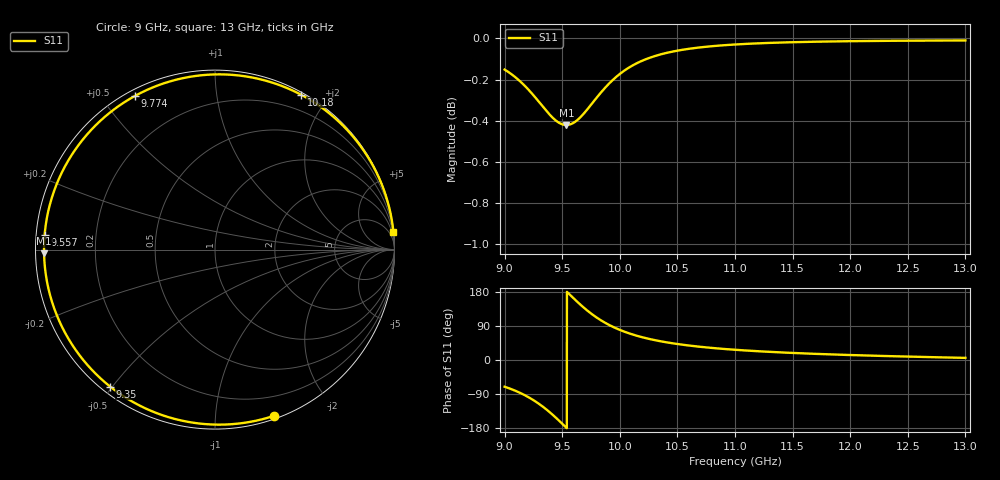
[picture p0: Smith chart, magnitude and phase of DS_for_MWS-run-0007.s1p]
! TOUCHSTONE file generated by CST DESIGN STUDIO
! Date and time: Tue Feb  4 13:33:47 2025
! Project name: C:\Work\MatlabApps\UnitCellOptimizationMatlab\CST\unitcell.cst
! Tree item: Tasks\Sweep1\SPara1\S-Parameters
! Header version: 2024
! Port assignment regex: !\s*Touchstone port\s*([0-9]+)\s*=\s*(CST MWS port|CST DES external port|CST DES block port)\s*(.+)\s* \(\"(.*)\"\)(\s*mode\s*([0-9]+))?.*
! Touchstone port assignment:
! Touchstone port 1 = CST DES external port 1 ("")
# GHz S MA R 50
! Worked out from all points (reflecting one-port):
!   4001 points, 9 GHz to 13 GHz, reference 50 ohm
!   lowest |S11| = -0.4 dB at 9.536 GHz (marker M1), VSWR 41.27, Z = 1.21 - j0.559 ohm
!   phase of S11 starts at -70 deg and turns -284 deg over the sweep
!   S11 on the Smith chart (normalised r, x): 9 GHz: 0.03, -1.42; 9.35 GHz: 0.02, -0.49; 9.557 GHz: 0.02, +0.04; 9.774 GHz: 0.02, +0.61; 10.18 GHz: 0.02, +1.70; 13 GHz: 0, +20
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9  0.9827 -70.5
9.098  0.9783 -81.8
9.206  0.9718 -98.0
9.282  0.9663 -112.3
9.35  0.9612 -127.4
9.421  0.9564 -145.6
9.462  0.9543 -157.0
9.5  0.9531 -168.1
9.536  0.9527 -178.7
9.557  0.9528 175.0
9.611  0.9543 159.2
9.672  0.9577 142.3
9.723  0.9614 129.2
9.774  0.9654 117.4
9.822  0.9691 107.5
9.874  0.9729 98.0
9.932  0.9766 88.7
10  0.9803 79.4
10.088  0.9841 69.6
10.183  0.9873 61.0
10.328  0.9906 50.9
10.5  0.9932 42.2
10.721  0.9952 34.1
11  0.9966 27.0
11.5  0.9979 18.6
12  0.9984 13.1
12.5  0.9987 9.0
13  0.9988 5.6
